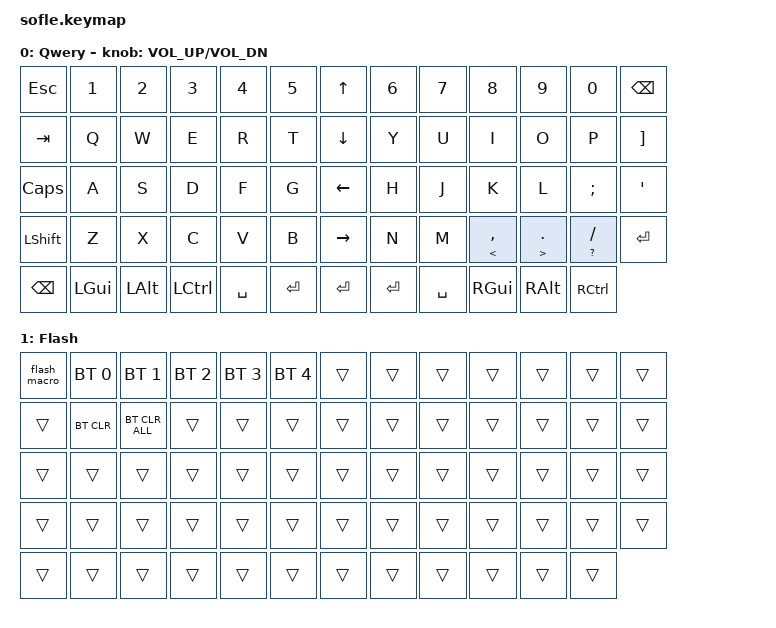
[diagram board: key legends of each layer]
#include <behaviors.dtsi>
#include <dt-bindings/zmk/bt.h>
#include <dt-bindings/zmk/keys.h>

/ {
    macros {
        flash_macro: flash_macro {
            compatible = "zmk,behavior-macro";
            #binding-cells = <0>;
            bindings = <&bootloader>;
        };
    };

    behaviors {
        as: auto_shift {
            compatible = "zmk,behavior-hold-tap";
            label = "AUTO_SHIFT";
            #binding-cells = <2>;
            tapping_term_ms = <135>;
            quick_tap_ms = <0>;
            flavor = "tap-preferred";
            bindings = <&kp>, <&kp>;
        };
    };

    keymap {
        compatible = "zmk,keymap";

        Qwery {
            bindings = <
&kp ESC    &kp N1        &kp N2    &kp N3     &kp N4     &kp N5       &kp UP_ARROW     &kp N6     &kp N7     &kp N8               &kp N9                   &kp N0             &kp BACKSPACE
&kp TAB    &kp Q         &kp W     &kp E      &kp R      &kp T        &kp DOWN_ARROW   &kp Y      &kp U      &kp I                &kp O                    &kp P              &kp RBKT
&kp CAPS   &kp A         &kp S     &kp D      &kp F      &kp G        &kp LEFT_ARROW   &kp H      &kp J      &kp K                &kp L                    &kp SEMI           &kp APOS
&kp LSHFT  &kp Z         &kp X     &kp C      &kp V      &kp B        &kp RIGHT_ARROW  &kp N      &kp M      &as LESS_THAN COMMA  &as GREATER_THAN PERIOD  &as QUESTION FSLH  &kp ENTER
&kp BSPC   &kp LEFT_GUI  &kp LALT  &kp LCTRL  &kp SPACE  &kp ENTER    &kp ENTER        &kp ENTER  &kp SPACE  &kp RGUI             &kp RALT                 &kp RCTRL
            >;

            sensor-bindings = <&inc_dec_kp C_VOLUME_UP C_VOL_DN>;
            display-name = "Qwery";
        };

        Flash {
            bindings = <
&flash_macro  &bt BT_SEL 0  &bt BT_SEL 1    &bt BT_SEL 2  &bt BT_SEL 3  &bt BT_SEL 4    &trans  &trans  &trans  &trans  &trans  &trans  &trans
&trans        &bt BT_CLR    &bt BT_CLR_ALL  &trans        &trans        &trans          &trans  &trans  &trans  &trans  &trans  &trans  &trans
&trans        &trans        &trans          &trans        &trans        &trans          &trans  &trans  &trans  &trans  &trans  &trans  &trans
&trans        &trans        &trans          &trans        &trans        &trans          &trans  &trans  &trans  &trans  &trans  &trans  &trans
&trans        &trans        &trans          &trans        &trans        &trans          &trans  &trans  &trans  &trans  &trans  &trans
            >;

            display-name = "Flash";
        };
    };
};
